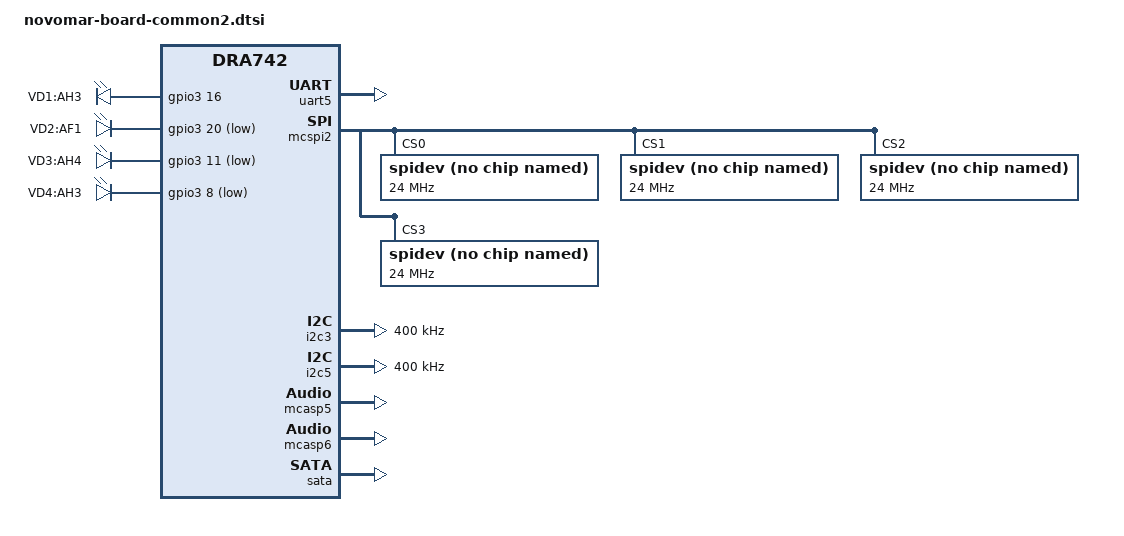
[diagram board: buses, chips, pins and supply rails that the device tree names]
/*
 * Copyright (C) 2016-2017 Novomar Incorporated - http://www.novomar-spb.ru/
 *
 * This program is free software; you can redistribute it and/or modify
 * it under the terms of the GNU General Public License version 2 as
 * published by the Free Software Foundation.
 */

/ {
	compatible = "ti,am5728-evm", "ti,am572x-beagle-x15", "ti,am5728", "ti,dra742", "ti,dra74", "ti,dra7";	
	aliases {
		sound1 = &sound1;
	};

	/* Novomar bindings */
	leds {
		compatible = "gpio-leds";
		led@0 {
			label = "VD1:AH3";
			gpios = <&gpio3 16 GPIO_ACTIVE_HIGH>;
			linux,default-trigger = "heartbeat";
			default-state = "off";
		};

		led@1 {
			label = "VD2:AF1";
			gpios = <&gpio3 20 GPIO_ACTIVE_LOW>;
			linux,default-trigger = "cpu0";
			default-state = "off";
		};

		led@2 {
			label = "VD3:AH4";
			gpios = <&gpio3 11 GPIO_ACTIVE_LOW>;
			linux,default-trigger = "mmc2";
			default-state = "off";
		};

		led@3 {
			label = "VD4:AH3";
			gpios = <&gpio3 8 GPIO_ACTIVE_LOW>;
			linux,default-trigger = "heartbeat";
			default-state = "on";
		};
	};

	pcm5102a: pcm5102a {
		#sound-dai-cells = <0>;
		compatible = "ti,pcm5102a";
	};


	sound1:sound@1 {
	  compatible = "simple-audio-card";
	  simple-audio-card,name = "PCM5102a";
	  simple-audio-card,format = "i2s";
	  simple-audio-card,cpu {
	    sound-dai = <&mcasp6>;
	    bitclock-master;
	    bitclock-inversion;
	    frame-master;
	    system-clock-frequency = <24576000>;
	    system-clock-direction = "out";
	  };

	  simple-audio-card,codec {
	    sound-dai = <&pcm5102a>;  
	  };
	  
	};

	/*
	* Configuration for using the PCM1863/PCM1862 Codec in 2-channel I2S mode
	* operated as the clock master driven by an attached 24.576MHz XTAL.
	*/
	sound4: sound@4 {
		compatible = "simple-audio-card";
		simple-audio-card,name = "BBB-PCM186X";
		simple-audio-card,widgets =
			"Line", "Line In Jack 1",
			"Line", "Line In Jack 2",
			"Line", "Line In Jack 3",
			"Line", "Line In Jack 4";
		simple-audio-card,routing =
			"Line In Jack 1", "VINL1",
			"Line In Jack 1", "VINR1",
			"Line In Jack 2", "VINL2",
			"Line In Jack 2", "VINR2",
			"Line In Jack 3", "VINL3",
			"Line In Jack 3", "VINR3",
			"Line In Jack 4", "VINL4",
			"Line In Jack 4", "VINR4";
		simple-audio-card,format = "i2s";
		simple-audio-card,bitclock-master = <&sound4_master>;
		simple-audio-card,frame-master = <&sound4_master>;

		//status = "okay";

		simple-audio-card,cpu {
			sound-dai = <&mcasp5>;
	    		system-clock-direction = "out";
		};

		sound4_master: simple-audio-card,codec {
			// Specify desired codec here and make sure it's enabled
			sound-dai = <&pcm1863>;

			
			//Need this here otherwise recording won't work probably because
			//some davinci-mcasp.c setup function doesn't get called. For now
			//lets plug in the frequency of the XTAL attached to the PCM1863.
			//This value will get passed to our codec's pcm186x_set_sysclk()
			//function.
			system-clock-frequency = <24576000>;
		};
	};

};

/* UART nodes */
&uart5 {
	status = "okay";
	pinctrl-names = "default";
	pinctrl-0 = <&uart5_pins_default>;
};

/* GPIO nodes */
&gpio3 {
	pinctrl-names = "default";
	pinctrl-0 = <&gpio3_pins_default>;
	ti,no-reset-on-init;
	ti,no-idle-on-init;
};


/* SPI nodes  */
&mcspi2{
	status = "okay";
	#address-cells = <1>;
    #size-cells = <0>;
	pinctrl-names = "default";
	pinctrl-0 = <&spi2_pins_default>;

	ti,spi-num-cs = <4>;
	ti,pindir-d0-out-d1-in;

	spidev@0{
		#address-cells = <1>;
		#size-cells = <0>;
		compatible = "rohm,dh2228fv";
		reg = <0>;
		//spi-cs-high;
		spi-max-frequency = <24000000>;
	};
	spidev@1{
		#address-cells = <1>;
		#size-cells = <0>;
		compatible = "rohm,dh2228fv";
		reg = <1>;
		//spi-cs-high;
		spi-max-frequency = <24000000>;
	};
	spidev@2{
		#address-cells = <1>;
		#size-cells = <0>;
		compatible = "rohm,dh2228fv";
		reg = <2>;
		//spi-cs-high;
		spi-max-frequency = <24000000>;
	};
	spidev@3{
		#address-cells = <1>;
		#size-cells = <0>;
		compatible = "rohm,dh2228fv";
		reg = <3>;
		//spi-cs-high;
		spi-max-frequency = <24000000>;
	};
};

&i2c3 {
	clock-frequency = <400000>;
	pinctrl-names = "default";
	pinctrl-0 = <&i2c3_pins_default>;
	status = "okay";
};

/* General purpose i2c bus */
&i2c5 {
	clock-frequency = <400000>;
	pinctrl-names = "default";
	pinctrl-0 = <&i2c5_pins_default>;
	status = "okay";
};

/* McASP nodes  */
&mcasp5 {
	#sound-dai-cells = <0>;
	assigned-clocks = <&mcasp5_ahclkx_mux>;
	assigned-clock-parents = <&sys_clkin2>;
	pinctrl-names = "default"; 
	pinctrl-0 = <&mcasp5_pins_default>; 
	status = "okay";

	op-mode = <0>;	/* MCASP_IIS_MODE */
	tdm-slots = <2>;
	/* 4 serializers */
	serial-dir = <	/* 0: INACTIVE, 1: TX, 2: RX */
		0 2 0 0
	>;
	//tx-num-evt = <32>;
	rx-num-evt = <32>;
};

&mcasp6 {
	#sound-dai-cells = <0>;
	assigned-clocks = <&abe_dpll_sys_clk_mux>;
	assigned-clock-parents = <&sys_clkin2>;
	pinctrl-names = "default"; 
	pinctrl-0 = <&mcasp6_pins_default>;
	status = "okay";

	op-mode = <0>;	/* MCASP_IIS_MODE */
	tdm-slots = <2>;
	/* 4 serializers */
	serial-dir = <	/* 0: INACTIVE, 1: TX, 2: RX */
		0 1 0 0
	>;
	tx-num-evt = <32>;
	//rx-num-evt = <32>;
};

&mcasp8 {
	#sound-dai-cells = <0>;
	assigned-clocks = <&mcasp8_ahclkx_mux>;
	assigned-clock-parents = <&sys_clkin2>;
	pinctrl-names = "default"; 
	pinctrl-0 = <&mcasp8_pins_default>; 
	status = "disabled";

	op-mode = <0>;	/* MCASP_IIS_MODE */
	tdm-slots = <2>;
	/* 4 serializers */
	serial-dir = <	/* 0: INACTIVE, 1: TX, 2: RX */
		2 0 0 0
	>;
	tx-num-evt = <32>;
	rx-num-evt = <32>;
};

/* Sata  nodes  */
&sata {
	pinctrl-names = "default";
	pinctrl-0 = <&sata_pins_default>;
	status = "okay";
};
